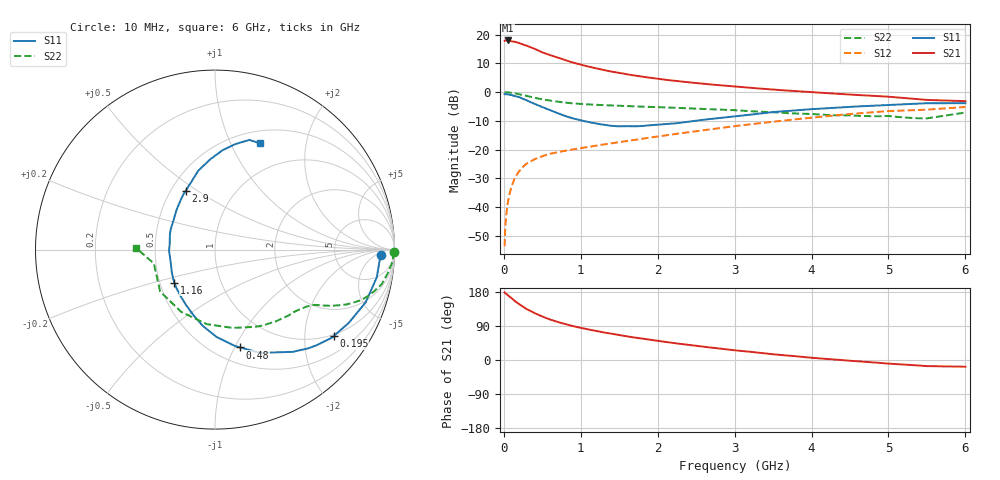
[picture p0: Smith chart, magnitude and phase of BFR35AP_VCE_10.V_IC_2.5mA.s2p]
! Infineon Technologies  Discrete & RF Semiconductors
! BFR35AP
! VCE =  10. V,  IC =  2.5 mA
! Common Emitter S-Parameters:  Nov 2015
# GHz  S  MA  R  50
!  f  S11  S21  S12  S22
! GHz  MAG  ANG  MAG  ANG  MAG  ANG  MAG  ANG
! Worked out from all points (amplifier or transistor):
!   210 points, 10 MHz to 6 GHz, reference 50 ohm
!   highest |S21| = 17.9 dB at 50 MHz (marker M1)
!   |S21| within 3 dB of that: start of sweep to 407.9 MHz
!   unconditionally stable (mu >= 1): 1.143 GHz to 3.201 GHz
!   at 185 MHz: K = 0.24, MSG = 22.6 dB, |S12| = -28.1 dB
!   at 1.52 GHz: K = 1.10, MAG = 10.0 dB, |S12| = -17.3 dB
!   at 6 GHz: K = 0.91, MSG = 1.0 dB, |S12| = -5.2 dB
!   S11 on the Smith chart (normalised r, x): 10 MHz: 21, -9; 195 MHz: 0.95, -2.78; 480 MHz: 0.66, -1.05; 1.16 GHz: 0.60, -0.24; 2.9 GHz: 0.59, +0.45; 6 GHz: 0.64, +1.30
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0.01  0.9228 -1.9  7.788 178.3  0.0021 85.3  0.9976 -0.8
0.02  0.9188 -4.1  7.887 176.2  0.0047 85.3  0.9944 -1.6
0.05  0.9147 -9.7  7.897 171.4  0.0116 85.2  0.9901 -4.1
0.09  0.8925 -17.3  7.663 165.0  0.0205 79.7  0.9744 -7.1
0.15  0.8498 -28.7  7.482 154.3  0.0334 73.6  0.9492 -11.6
0.195  0.8186 -36.1  7.135 148.1  0.0413 70.1  0.9216 -14.2
0.3  0.7161 -52.7  6.377 133.9  0.0577 62.6  0.8574 -19.3
0.4  0.6272 -66.5  5.654 123.7  0.0681 57.5  0.7952 -22.6
0.48  0.5626 -75.6  5.043 116.5  0.075 55.2  0.7566 -24.2
0.5  0.549 -78.2  4.905 114.4  0.0768 54.7  0.747 -24.6
0.6  0.4874 -88.9  4.402 106.9  0.0846 52.3  0.7116 -26.1
0.7  0.4302 -99.1  3.977 100.2  0.0904 51.4  0.6815 -27.2
0.88  0.355 -115.5  3.318 90.3  0.1001 50.6  0.6395 -28.8
1.02  0.319 -127.7  2.949 84.0  0.1074 50.9  0.6198 -30.0
1.16  0.2912 -140.9  2.662 78.2  0.1153 51.2  0.6049 -31.5
1.6  0.2562 -178.4  2.038 62.2  0.1412 52.9  0.5702 -36.4
2.02  0.2725 153.8  1.684 50.0  0.1707 53.9  0.5474 -42.5
2.9  0.3658 116.5  1.284 28.0  0.2461 51.6  0.4917 -60.2
3.1  0.3911 110.8  1.221 23.7  0.2656 50.2  0.4749 -65.3
4.1  0.5146 91.2  0.98 4.4  0.3702 41.0  0.4083 -100.5
5.1  0.6063 77.7  0.811 -10.7  0.4728 26.7  0.3723 -147.1
6  0.6426 67.0  0.696 -17.7  0.5509 15.2  0.4414 178.7
